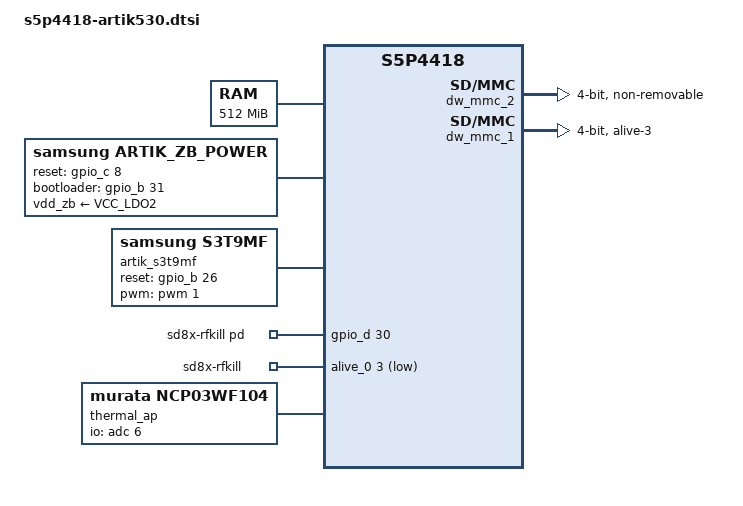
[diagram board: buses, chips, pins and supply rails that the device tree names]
/*
 * Copyright (C) 2016  Nexell Co., Ltd.
 * Author: Youngbok, Park <ybpark@nexell.co.kr>
 *
 * This program is free software; you can redistribute it and/or
 * modify it under the terms of the GNU General Public License
 * as published by the Free Software Foundation; either version 2
 * of the License, or (at your option) any later version.
 *
 * This program is distributed in the hope that it will be useful,
 * but WITHOUT ANY WARRANTY; without even the implied warranty of
 * MERCHANTABILITY or FITNESS FOR A PARTICULAR PURPOSE.  See the
 * GNU General Public License for more details.
 *
 * You should have received a copy of the GNU General Public License
 * along with this program.  If not, see <http://www.gnu.org/licenses/>.
 */
#include <dt-bindings/interrupt-controller/irq.h>
#include "s5p4418.dtsi"

/ {
	memory {
		device_type = "memory";
		reg = <0x40000000 0x20000000>;
	};

	soc {
		#include "s5p4418-pinctrl.dtsi"

		clocks {
			uart0:uart@c00a9000 { clock-frequency = <147500000>; };
			uart1:uart@c00a8000 { clock-frequency = <147500000>; };
			uart2:uart@c00aa000 { clock-frequency = <147500000>; };
			uart3:uart@c00ab000 { clock-frequency = <147500000>; };
			uart4:uart@c006e000 { clock-frequency = <147500000>; };
			uart5:uart@c0084000 { clock-frequency = <147500000>; };
			spi0:spi@c00ac000  { clock-frequency = <100000000>; };
			spi1:spi@c00ad000  { clock-frequency = <100000000>; };
			spi2:spi@c00a7000  { clock-frequency = <100000000>; };
		};

		dw_mmc_2:dw_mmc@c0069000 {
			num-slots = <1>;
			bus-width = <4>;
			cap-mmc-highspeed;
			broken-cd;
			non-removable;
			clock-frequency = <100000000>;
			card-detect-delay = <200>;
			disable-wp;
			status = "okay";
			nexell,drive_dly = <0x0>;
			nexell,drive_shift = <0x02>;
			nexell,sample_dly = <0x00>;
			nexell,sample_shift = <0x01>;
		};

		pinctrl@C0010000 {
			cfg_wlanhostwake: cfg-wlanhostwake {
				nexell,pins = "alive-3";
				nexell,pin-function = <0>;
				nexell,pin-pull = <2>;
				nexell,pin-strength = <0>;
			};
		};
	};	/*** soc ***/
	artik_zb_power {
		compatible = "samsung,artik_zb_power";
		vdd_zb-supply = <&VCC_LDO2>;
		reset-gpio = <&gpio_c 8 0>;
		bootloader-gpio = <&gpio_b 31 0>;
		status = "okay";
	};

	artik_s3t9mf {
		compatible = "samsung,s3t9mf";
		reset-gpio = <&gpio_b 26 0>;
		pwms = <&pwm 1 121 0>;
		pwm-names = "pwm_t9mf";
		status = "okay";
	};

	sd8x-rfkill {
		 compatible = "mrvl,sd8x-rfkill";
		 sd-host = <&dw_mmc_1>;
		 pd-gpio = <&gpio_d 30 0>; /* GPIOD30=WLAN_BT_PDN output*/
		 gpios = <&alive_0 3 1>; /* AliveGPIO3=WLAN_HOST_WAKE, input */
		 status = "okay";
	};

	sd8xxx-wlan {
		 drvdbg  = <0x37>;
		 drv_mode = <0x5>;
		 cfg80211_wext = <0xf>;
		 sta_name = "wlan";
		 wfd_name = "p2p";
		 max_vir_bss = <1>;
		 cal_data_cfg = "mrvl/WlanCalData_ext.conf";
		 fw_name = "mrvl/sdsd8977_combo_v2.bin";
		 reg_alpha2 = "US";
		 p2p_enh = <1>;
	};

	sd8xxx-bt {
		 init_cfg = "mrvl/bt_init_cfg.conf";
		 cal_cfg = "mrvl/bt_cal_data.conf";
	};

	thermal_ap:thermal {
		#thermal-sensor-cells = <0>;
		compatible = "murata,ncp03wf104";
		pullup-uv = <1800000>;   /* VCC_1.8V_AP */
		pullup-ohm = <100000>;   /* 100K */
		pulldown-ohm = <0>; /* 100K */
		io-channels = <&adc 6>;  /* AP temperature */
	};

	thermal-zones {
		cpu0_thermal: cpu0-thermal {
			thermal-sensors = <&thermal_ap>;
			polling-delay-passive = <1000>;
			polling-delay = <1000>;
			trips {
				cpu_alert0: cpu-alert-0 {
					temperature = <60000>;
					hysteresis = <100000>;
					type = "active";
				};
				cpu_alert1: cpu-alert-1 {
					temperature = <70000>;
					hysteresis = <100000>;
					type = "passive";
				};
				cpu-crit-0 {
					temperature = <80000>;
					hysteresis = <100000>;
					type = "critical";
					};
			};

			cooling-maps {
				map0 {
					trip = <&cpu_alert0>;
					cooling-device = <&cpu0 2 6>;
				};
				map1 {
					trip = <&cpu_alert1>;
					cooling-device = <&cpu0 8 8>;
				};
			};
		};
	};
};

&dw_mmc_1 {
	status = "okay";
	num-slots = <1>;
	bus-width = <4>;
	cap-sd-highspeed;

	broken-cd;
	clock-frequency = <100000000>;
	supports-detect-complete;

	nexell,drive_dly = <0x0>;
	nexell,drive_shift = <0x2>;
	nexell,sample_dly = <0x00>;
	nexell,sample_shift = <0x01>;

	pinctrl-names = "default";
	pinctrl-0 = <&sdmmc1_cclk &sdmmc1_cmd &sdmmc1_bus4 &cfg_wlanhostwake>;
};
